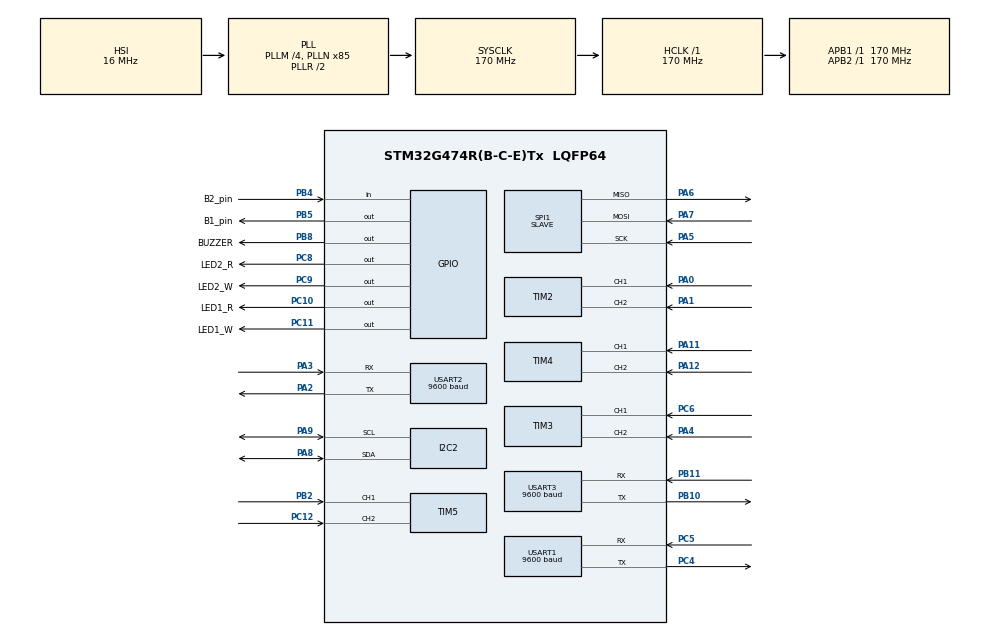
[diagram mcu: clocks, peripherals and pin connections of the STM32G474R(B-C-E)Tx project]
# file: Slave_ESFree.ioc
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ADC1.Channel-0\#ChannelRegularConversion=ADC_CHANNEL_TEMPSENSOR_ADC1
ADC1.NbrOfConversionFlag=1
ADC1.OffsetNumber-0\#ChannelRegularConversion=ADC_OFFSET_NONE
ADC1.Rank-0\#ChannelRegularConversion=1
ADC1.SamplingTime-0\#ChannelRegularConversion=ADC_SAMPLETIME_2CYCLES_5
ADC1.master=1
FREERTOS.Tasks01=ReadingTask,8,128,StartReadingTask,Default,NULL,Dynamic,NULL,NULL;CommunicationTa,8,128,StartCommunicationTask,Default,NULL,Dynamic,NULL,NULL;ActuationTask,8,128,StartActuationTask,Default,NULL,Dynamic,NULL,NULL;EmergencyTask,8,128,StartEmergencyTask,Default,NULL,Dynamic,NULL,NULL
FREERTOS.configUSE_NEWLIB_REENTRANT=1
FREERTOS.configUSE_PREEMPTION=0
I2C2.Timing=0x40B285C2
Mcu.Family=STM32G4
Mcu.Name=STM32G474R(B-C-E)Tx
Mcu.Package=LQFP64
NUCLEO-G474RE.BUTTON=1
NUCLEO-G474RE.LD2=true
NUCLEO-G474RE.VCP=true
NVIC.PriorityGroup=NVIC_PRIORITYGROUP_4
NVIC.TIM6_DAC_IRQn=true\:15\:0\:false\:false\:true\:false\:false\:true\:true
NVIC.TimeBase=TIM6_DAC_IRQn
NVIC.TimeBaseIP=TIM6
PA0.Signal=S_TIM2_CH1
PA1.Signal=S_TIM2_CH2
PA11.Signal=S_TIM4_CH1
PA12.Signal=S_TIM4_CH2
PA13.Mode=Serial_Wire
PA13.Signal=SYS_JTMS-SWDIO
PA14.Mode=Serial_Wire
PA14.Signal=SYS_JTCK-SWCLK
PA2.Mode=Asynchronous
PA2.Signal=USART2_TX
PA3.Mode=Asynchronous
PA3.Signal=USART2_RX
PA4.Signal=S_TIM3_CH2
PA5.Mode=Full_Duplex_Slave
PA5.Signal=SPI1_SCK
PA6.Mode=Full_Duplex_Slave
PA6.Signal=SPI1_MISO
PA7.Mode=Full_Duplex_Slave
PA7.Signal=SPI1_MOSI
PA8.Mode=I2C
PA8.Signal=I2C2_SDA
PA9.Mode=I2C
PA9.Signal=I2C2_SCL
PB10.Mode=Asynchronous
PB10.Signal=USART3_TX
PB11.Mode=Asynchronous
PB11.Signal=USART3_RX
PB2.Signal=S_TIM5_CH1
PB4.GPIO_Label=B2_pin
PB4.Signal=GPIO_Input
PB5.GPIO_Label=B1_pin
PB5.Signal=GPIO_Output
PB8-BOOT0.GPIO_Label=BUZZER
PB8-BOOT0.Signal=GPIO_Output
PC10.GPIO_Label=LED1_R
PC10.Signal=GPIO_Output
PC11.GPIO_Label=LED1_W
PC11.Signal=GPIO_Output
PC12.Signal=S_TIM5_CH2
PC14-OSC32_IN.Mode=LSE-External-Oscillator
PC14-OSC32_IN.Signal=RCC_OSC32_IN
PC15-OSC32_OUT.Mode=LSE-External-Oscillator
PC15-OSC32_OUT.Signal=RCC_OSC32_OUT
PC4.Mode=Asynchronous
PC4.Signal=USART1_TX
PC5.Mode=Asynchronous
PC5.Signal=USART1_RX
PC6.Signal=S_TIM3_CH1
PC8.GPIO_Label=LED2_R
PC8.Signal=GPIO_Output
PC9.GPIO_Label=LED2_W
PC9.Signal=GPIO_Output
PF0-OSC_IN.Mode=HSE-External-Clock-Source
PF0-OSC_IN.Signal=RCC_OSC_IN
ProjectManager.HeapSize=0x200
ProjectManager.StackSize=0x400
ProjectManager.TargetToolchain=STM32CubeIDE
RCC.ADC12Freq_Value=170000000
RCC.ADC345Freq_Value=170000000
RCC.AHBFreq_Value=170000000
RCC.APB1Freq_Value=170000000
RCC.APB1TimFreq_Value=170000000
RCC.APB2Freq_Value=170000000
RCC.APB2TimFreq_Value=170000000
RCC.CortexFreq_Value=170000000
RCC.EXTERNAL_CLOCK_VALUE=12288000
RCC.HCLKFreq_Value=170000000
RCC.HSE_VALUE=24000000
RCC.HSI48_VALUE=48000000
RCC.HSI_VALUE=16000000
RCC.PLLM=RCC_PLLM_DIV4
RCC.PLLN=85
RCC.RTCClockSelection=RCC_RTCCLKSOURCE_LSE
RCC.SYSCLKFreq_VALUE=170000000
RCC.SYSCLKSource=RCC_SYSCLKSOURCE_PLLCLK
RCC.USBFreq_Value=170000000
RCC.VCOOutputFreq_Value=340000000
SH.S_TIM2_CH1.0=TIM2_CH1,Encoder_Interface
SH.S_TIM2_CH2.0=TIM2_CH2,Encoder_Interface
SH.S_TIM3_CH1.0=TIM3_CH1,Encoder_Interface
SH.S_TIM3_CH2.0=TIM3_CH2,Encoder_Interface
SH.S_TIM4_CH1.0=TIM4_CH1,Encoder_Interface
SH.S_TIM4_CH2.0=TIM4_CH2,Encoder_Interface
SH.S_TIM5_CH1.0=TIM5_CH1,Encoder_Interface
SH.S_TIM5_CH2.0=TIM5_CH2,Encoder_Interface
SPI1.DataSize=SPI_DATASIZE_8BIT
SPI1.Direction=SPI_DIRECTION_2LINES
SPI1.Mode=SPI_MODE_SLAVE
SPI1.VirtualType=VM_SLAVE
TIM2.EncoderMode=TIM_ENCODERMODE_TI12
TIM4.EncoderMode=TIM_ENCODERMODE_TI12
TIM5.EncoderMode=TIM_ENCODERMODE_TI12
USART1.BaudRate=9600
USART1.VirtualMode-Asynchronous=VM_ASYNC
USART2.BaudRate=9600
USART2.VirtualMode-Asynchronous=VM_ASYNC
USART3.BaudRate=9600
USART3.VirtualMode-Asynchronous=VM_ASYNC
VP_ADC1_TempSens_Input.Mode=IN-TempSens
VP_ADC1_Vref_Input.Mode=IN-Vrefint
VP_FREERTOS_VS_CMSIS_V2.Mode=CMSIS_V2
VP_SYS_VS_DBSignals.Mode=DisableDeadBatterySignals
VP_SYS_VS_tim6.Mode=TIM6
board=NUCLEO-G474RE

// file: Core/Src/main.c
/* USER CODE BEGIN Header */
/**
  ******************************************************************************
  * @file           : main.c
  * @brief          : Main program body
  ******************************************************************************
  * @attention
  *
  * Copyright (c) 2025 STMicroelectronics.
  * All rights reserved.
  *
  * This software is licensed under terms that can be found in the LICENSE file
  * in the root directory of this software component.
  * If no LICENSE file comes with this software, it is provided AS-IS.
  *
  ******************************************************************************
  */
/*
    Copyright (C) 2025

    This program is free software: you can redistribute it and/or modify
    it under the terms of the GNU General Public License as published by
    the Free Software Foundation, either version 3 of the License, or
    (at your option) any later version.

    This program is distributed in the hope that it will be useful,
    but WITHOUT ANY WARRANTY; without even the implied warranty of
    MERCHANTABILITY or FITNESS FOR A PARTICULAR PURPOSE.  See the
    GNU General Public License for more details.

    You should have received a copy of the GNU General Public License
    along with this program.  If not, see <https://www.gnu.org/licenses/>.

TRACCIA:
Progettare e implementare un rover in grado di eseguire i comandi ricevuti tramite un controller
il rover può trovarsi in tre diversi stati operativi: OK quando il sistema funziona correttamente senza anomalie,
DEGRADATO in caso di malfunzionamento parziale che riduce alcune funzionalità ma mantiene il rover operativo,
EMERGENZA quando il rover entra in uno stato di sicurezza per prevenire danni limitando o sospendendo le operazioni.
*/
/* USER CODE END Header */
#include "main.h"
#include "cmsis_os.h"
#include "adc.h"
#include "i2c.h"
#include "spi.h"
#include "tim.h"
#include "usart.h"
#include "gpio.h"

/* USER CODE BEGIN Includes */
#include "controller.h"
#include "scheduler.h"
#include <string.h>
#include "com.h"
#include "pid.h"
/* USER CODE END Includes */

void SystemClock_Config(void);
void MX_FREERTOS_Init(void);

int main(void)
{

  /* MCU Configuration--------------------------------------------------------*/

  /* Reset of all peripherals, Initializes the Flash interface and the Systick. */
  HAL_Init();

  /* Configure the system clock */
  SystemClock_Config();

  /* Initialize all configured peripherals */
  MX_GPIO_Init();
  MX_ADC1_Init();
  MX_TIM2_Init();
  MX_TIM3_Init();
  MX_TIM4_Init();
  MX_TIM5_Init();
  MX_USART1_UART_Init();
  MX_USART3_UART_Init();
  MX_I2C2_Init();
  MX_SPI1_Init();
  MX_USART2_UART_Init();
  /* USER CODE BEGIN 2 */
  HAL_TIM_Encoder_Start(&htim2, TIM_CHANNEL_ALL); // Avvia il timer per encoder
  HAL_TIM_Encoder_Start(&htim3, TIM_CHANNEL_ALL); // Avvia il timer per encoder
  HAL_TIM_Encoder_Start(&htim4, TIM_CHANNEL_ALL); // Avvia il timer per encoder
  HAL_TIM_Encoder_Start(&htim5, TIM_CHANNEL_ALL); // Avvia il timer per encoder

  /* USER CODE END 2 */

  /* Init scheduler */
  osKernelInitialize();

  /* Call init function for freertos objects (in cmsis_os2.c) */
  MX_FREERTOS_Init();

  /* Start scheduler */
  osKernelStart();

  /* We should never get here as control is now taken by the scheduler */

  /* Infinite loop */
  while (1)
  {

  }
}

void SystemClock_Config(void)
{
  RCC_OscInitTypeDef RCC_OscInitStruct = {0};
  RCC_ClkInitTypeDef RCC_ClkInitStruct = {0};

  /** Configure the main internal regulator output voltage
  */
  HAL_PWREx_ControlVoltageScaling(PWR_REGULATOR_VOLTAGE_SCALE1_BOOST);

  /** Initializes the RCC Oscillators according to the specified parameters
  * in the RCC_OscInitTypeDef structure.
  */
  RCC_OscInitStruct.OscillatorType = RCC_OSCILLATORTYPE_HSI;
  RCC_OscInitStruct.HSIState = RCC_HSI_ON;
  RCC_OscInitStruct.HSICalibrationValue = RCC_HSICALIBRATION_DEFAULT;
  RCC_OscInitStruct.PLL.PLLState = RCC_PLL_ON;
  RCC_OscInitStruct.PLL.PLLSource = RCC_PLLSOURCE_HSI;
  RCC_OscInitStruct.PLL.PLLM = RCC_PLLM_DIV4;
  RCC_OscInitStruct.PLL.PLLN = 85;
  RCC_OscInitStruct.PLL.PLLP = RCC_PLLP_DIV2;
  RCC_OscInitStruct.PLL.PLLQ = RCC_PLLQ_DIV2;
  RCC_OscInitStruct.PLL.PLLR = RCC_PLLR_DIV2;
  if (HAL_RCC_OscConfig(&RCC_OscInitStruct) != HAL_OK)
  {
    Error_Handler();
  }

  /** Initializes the CPU, AHB and APB buses clocks
  */
  RCC_ClkInitStruct.ClockType = RCC_CLOCKTYPE_HCLK|RCC_CLOCKTYPE_SYSCLK
                              |RCC_CLOCKTYPE_PCLK1|RCC_CLOCKTYPE_PCLK2;
  RCC_ClkInitStruct.SYSCLKSource = RCC_SYSCLKSOURCE_PLLCLK;
  RCC_ClkInitStruct.AHBCLKDivider = RCC_SYSCLK_DIV1;
  RCC_ClkInitStruct.APB1CLKDivider = RCC_HCLK_DIV1;
  RCC_ClkInitStruct.APB2CLKDivider = RCC_HCLK_DIV1;

  if (HAL_RCC_ClockConfig(&RCC_ClkInitStruct, FLASH_LATENCY_4) != HAL_OK)
  {
    Error_Handler();
  }
}

void HAL_TIM_PeriodElapsedCallback(TIM_HandleTypeDef *htim)
{
  if (htim->Instance == TIM6) {
    HAL_IncTick();
  }
}

void Error_Handler(void)
{
  __disable_irq();
  while (1)
  {
  }
}

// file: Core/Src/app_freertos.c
/* USER CODE BEGIN Header */
/**
  ******************************************************************************
  * File Name          : app_freertos.c
  * Description        : Code for freertos applications
  ******************************************************************************
  * @attention
  *
  * Copyright (c) 2025 STMicroelectronics.
  * All rights reserved.
  *
  * This software is licensed under terms that can be found in the LICENSE file
  * in the root directory of this software component.
  * If no LICENSE file comes with this software, it is provided AS-IS.
  *
  ******************************************************************************
  */
/*
    Copyright (C) 2025

    This program is free software: you can redistribute it and/or modify
    it under the terms of the GNU General Public License as published by
    the Free Software Foundation, either version 3 of the License, or
    (at your option) any later version.

    This program is distributed in the hope that it will be useful,
    but WITHOUT ANY WARRANTY; without even the implied warranty of
    MERCHANTABILITY or FITNESS FOR A PARTICULAR PURPOSE.  See the
    GNU General Public License for more details.

    You should have received a copy of the GNU General Public License
    along with this program.  If not, see <https://www.gnu.org/licenses/>.

TRACCIA:
Progettare e implementare un rover in grado di eseguire i comandi ricevuti tramite un controller il rover può trovarsi in tre diversi stati operativi: OK quando il sistema funziona correttamente senza anomalie, DEGRADATO in caso di malfunzionamento parziale che riduce alcune funzionalità ma mantiene il rover operativo, EMERGENZA quando il rover entra in uno stato di sicurezza per prevenire danni limitando o sospendendo le operazioni.
*/

/* USER CODE END Header */

#include "FreeRTOS.h"
#include "task.h"
#include "main.h"
#include "cmsis_os.h"

/* USER CODE BEGIN Includes */
#include <string.h>
#include "controller.h"
#include "temperature.h"
#include "hc-sr04.h"
#include "MPU-6050.h"
#include "tim.h"
#include "com.h"
#include "adc.h"
#include "usart.h"
#include "gpio.h"
#include "spi.h"
#include "pid.h"
#include "scheduler.h"
#include "ssd1306_conf_template.h"
/* USER CODE END Includes */

/* USER CODE BEGIN PTD */
void dataCheck(uint16_t start_temp, partial_slave_t* data_salve);
void motori(global_t* global_data,PID_Controller *pid1,PID_Controller *pid2,PID_Controller *pid3,PID_Controller *pid4);
void led(global_t* global_data);
void emergency();
void ledEmergency();
void ledActuation();
/* USER CODE END PTD */

/* USER CODE BEGIN Variables */
PID_Controller pid1,pid2,pid3,pid4;
uint16_t start_temp;
uint32_t tick, timeout;
uint8_t buffer_receive[33];
uint8_t buffer_send[16];
partial_slave_t data_slave;
global_t global_data;
uint8_t final_decision;
uint8_t state_boards=3;
uint8_t ledOn = 0;
uint8_t lastBtn = 0;
char usart_buffer2[100];

/* USER CODE END Variables */
/* Definitions for ReadingTask */
osThreadId_t ReadingTaskHandle;
const osThreadAttr_t ReadingTask_attributes = {
  .name = "ReadingTask",
  .priority = (osPriority_t) osPriorityLow,
  .stack_size = 128 * 4
};
/* Definitions for CommunicationTa */
osThreadId_t CommunicationTaHandle;
const osThreadAttr_t CommunicationTa_attributes = {
  .name = "CommunicationTa",
  .priority = (osPriority_t) osPriorityLow,
  .stack_size = 128 * 4
};
/* Definitions for ActuationTask */
osThreadId_t ActuationTaskHandle;
const osThreadAttr_t ActuationTask_attributes = {
  .name = "ActuationTask",
  .priority = (osPriority_t) osPriorityLow,
  .stack_size = 128 * 4
};
/* Definitions for EmergencyTask */
osThreadId_t EmergencyTaskHandle;
const osThreadAttr_t EmergencyTask_attributes = {
  .name = "EmergencyTask",
  .priority = (osPriority_t) osPriorityLow,
  .stack_size = 128 * 4
};

void StartReadingTask(void *argument);
void StartCommunicationTask(void *argument);
void StartActuationTask(void *argument);
void StartEmergencyTask(void *argument);

void MX_FREERTOS_Init(void); /* (MISRA C 2004 rule 8.1) */

void MX_FREERTOS_Init(void) {
  /* USER CODE BEGIN Init */

	PID_Init(&pid1,0.001, 0.5,0);
	PID_Init(&pid2,0.001, 0.5,0);
	PID_Init(&pid3,0.001, 0.5,0);
	PID_Init(&pid4,0.001, 0.5,0);
	HAL_GPIO_WritePin(LED1_R_GPIO_Port, LED1_R_Pin, SET);
	HAL_GPIO_WritePin(LED2_R_GPIO_Port, LED2_R_Pin, SET);

  /* USER CODE END Init */

  /* Create the thread(s) */
  /* creation of ReadingTask */
  ReadingTaskHandle = osThreadNew(StartReadingTask, NULL, &ReadingTask_attributes);

  /* creation of CommunicationTa */
  CommunicationTaHandle = osThreadNew(StartCommunicationTask, NULL, &CommunicationTa_attributes);

  /* creation of ActuationTask */
  ActuationTaskHandle = osThreadNew(StartActuationTask, NULL, &ActuationTask_attributes);

  /* creation of EmergencyTask */
  EmergencyTaskHandle = osThreadNew(StartEmergencyTask, NULL, &EmergencyTask_attributes);

}

void StartReadingTask(void *argument)
{
  /* USER CODE BEGIN StartReadingTask */
  /* Infinite loop */
  for(;;)
  {

		data_slave.temperatura1=TemperatureSensor_Read();

	  	if(data_slave.temperatura1>90 || data_slave.temperatura1==-1){start_temp++;}
	  	else{start_temp=0;}

	  	data_slave.encoder1=TIM2->CNT;
	  	data_slave.encoder2=TIM3->CNT;
	  	data_slave.encoder3=TIM4->CNT;
	  	data_slave.encoder4=TIM5->CNT;

	  	//controllo validità dei dati rilevati dai sensori
	  	dataCheck(start_temp, &data_slave);
	  	osDelay(1);
  }
  /* USER CODE END StartReadingTask */
}

void StartCommunicationTask(void *argument)
{
  /* USER CODE BEGIN StartCommunicationTask */
  /* Infinite loop */
  for(;;)
  {
	  // Reset delle variabili di stato
	  state_boards=3;
	  final_decision = 3;
	  data_slave.B1_decision = 4;

	  //RICEZIONE PARTIAL STATE DAL MASTER

	  timeout=osKernelGetTickCount();
	  while (HAL_GPIO_ReadPin(B2_pin_GPIO_Port, B2_pin_Pin) == GPIO_PIN_RESET){
		  if(osKernelGetTickCount()-timeout > 80){
				state_boards = 0;
				goto fine;
		  }
	  }

	  HAL_GPIO_WritePin(GPIOB, B1_pin_Pin, GPIO_PIN_SET);

	  HAL_SPI_Receive(&hspi1, buffer_receive, sizeof(buffer_receive), HAL_MAX_DELAY);

	  HAL_GPIO_WritePin(GPIOB, B1_pin_Pin, GPIO_PIN_RESET);

	  deserialize_partial(&global_data,&data_slave,buffer_receive);

	  //DECISIONE DI B1 IN BASE AI DATI

		if(global_data.B2_state==0 && global_data.B1_state==1){ //Emergenza slave
			state_boards=0;
			data_slave.B1_decision = 0;
		}
		else if(global_data.B2_state==1 && global_data.B1_state==1){ //Attuazione slave
			state_boards=1;
			data_slave.B1_decision = 1;
		}
		else if(global_data.B2_state==1 && global_data.B1_state==0){ //Degradato master
			data_slave.B1_decision = 2;
		}
		else if(global_data.B2_state==0 && global_data.B1_state==0){ // Emergenza master
			data_slave.B1_decision = 3;
		}

		//INVIO PARTIAL STATE AL MASTER PIù DECISIONE SLAVE

		serialize_partial(&data_slave, buffer_send);

		HAL_GPIO_WritePin(GPIOB, B1_pin_Pin, GPIO_PIN_SET);
	    timeout = osKernelGetTickCount();
	    while (HAL_GPIO_ReadPin(GPIOB, B2_pin_Pin) == GPIO_PIN_RESET){
	  		if(osKernelGetTickCount()-timeout > 10){
	  			/*snprintf(buf, sizeof(buf),"timeout2: %d\r\n", osKernelGetTickCount()-timeout);
	  			HAL_UART_Transmit(&huart2, (uint8_t *)buf, strlen(buf), HAL_MAX_DELAY);*/
	  				state_boards = 0;
	  				goto fine;
	  		}
	     }

		  HAL_SPI_Transmit(&hspi1, (uint8_t*)buffer_send, sizeof(buffer_send), HAL_MAX_DELAY);

		  HAL_GPIO_WritePin(GPIOB, B1_pin_Pin, GPIO_PIN_RESET);

	  //RICEZIONE DECISIONE FINALE MASTER PIù CONTROLLO FINALE
			timeout=osKernelGetTickCount();
			while (HAL_GPIO_ReadPin(B2_pin_GPIO_Port, B2_pin_Pin) == GPIO_PIN_RESET){
				if(osKernelGetTickCount()-timeout > 10){
					state_boards = 0;
					goto fine;
	  	  		}
	  	  	}

	  	  HAL_GPIO_WritePin(GPIOB, B1_pin_Pin, GPIO_PIN_SET);

	  	  HAL_SPI_Receive(&hspi1, &final_decision, sizeof(final_decision), HAL_MAX_DELAY);

	  	  HAL_GPIO_WritePin(GPIOB, B1_pin_Pin, GPIO_PIN_RESET);

	  	  //Se la decisione finale è uguale a 0 significa che le due schede
	  	  //hanno preso decisioni differenti e quindi il master prende il comando
	  	  if(final_decision == 0){
	  		  state_boards = 3;
	  	  }

	fine:
	osDelay(1);
  }
  /* USER CODE END StartCommunicationTask */
}

void StartActuationTask(void *argument)
{
  /* USER CODE BEGIN StartActuationTask */
  /* Infinite loop */
  for(;;)
  {
	if(state_boards==1){
		//funzione per il comando dei motori
		motori(&global_data,&pid1,&pid2,&pid3,&pid4);

		//Suono clacson
		if(global_data.controller.b_btn==1){
			HAL_GPIO_WritePin(BUZZER_GPIO_Port, BUZZER_Pin, GPIO_PIN_SET);
		}
		else{
			HAL_GPIO_WritePin(BUZZER_GPIO_Port, BUZZER_Pin, GPIO_PIN_RESET);
		}
		// la variabile globale ledOn viene utilizzata per capire se i led devono essere accesi o spenti
		if(ledOn == 0 && global_data.controller.btn2 == 1 && lastBtn != 1){
			ledOn = 1;
			lastBtn = 1;
		}else if(global_data.controller.btn2 == 1 && lastBtn != 1){
			ledOn = 0;
			lastBtn = 1;
		}else if(global_data.controller.btn2 == 0){
			lastBtn = 0;
		}
		ledActuation();

	}
    osDelay(1);
  }
  /* USER CODE END StartActuationTask */
}

void StartEmergencyTask(void *argument)
{
  /* USER CODE BEGIN StartEmergencyTask */
  /* Infinite loop */
  for(;;)
  {
	if(state_boards==0){
		emergency();
	}
    osDelay(1);
  }
  /* USER CODE END StartEmergencyTask */
}

/* USER CODE BEGIN Application */
void dataCheck(uint16_t start_temp, partial_slave_t* data_slave){

	if(data_slave->encoder1 < 0 || data_slave->encoder2< 0 || data_slave->encoder3< 0 || data_slave->encoder4< 0 || start_temp>200){
		data_slave->B1_state=0;
	}
	else{
		data_slave->B1_state=1;
	}

}

void ledActuation(){
	if(ledOn == 1){

	HAL_GPIO_WritePin(LED1_W_GPIO_Port, LED1_W_Pin, GPIO_PIN_RESET);
	HAL_GPIO_WritePin(LED2_W_GPIO_Port, LED2_W_Pin, GPIO_PIN_RESET);
	}else{
	HAL_GPIO_WritePin(LED1_W_GPIO_Port, LED1_W_Pin, GPIO_PIN_SET);
	HAL_GPIO_WritePin(LED2_W_GPIO_Port, LED2_W_Pin, GPIO_PIN_SET);
	}
	return;
}

void motori(global_t* global_data,PID_Controller *pid1,PID_Controller *pid2,PID_Controller *pid3,PID_Controller *pid4){

	wheel_speeds_t speed;
	uint32_t tick1,tick2,tick3,tick4;
	int counterValue1,counterValue2,counterValue3,counterValue4;
	uint8_t power1,power2,power3,power4,INpower2,INpower4;

	speed=compute(&global_data->controller, global_data->sonar1,global_data->sonar2,global_data->sonar3);

	tick1 = HAL_GetTick();
	counterValue1 = TIM2->CNT;
	power1=PID_Compute(pid1, counterValue1, tick1, speed.right_speed, 2448.0,1);

	tick2 = HAL_GetTick();
	counterValue2 = TIM3->CNT;
	power2=PID_Compute(pid2, counterValue2, tick2, speed.left_speed, 2448.0,2);
	INpower2=power2+127;

	tick3 = HAL_GetTick();
	counterValue3 = TIM4->CNT;
	power3=PID_Compute(pid3, counterValue3, tick3, speed.right_speed, 2448.0,3);

	tick4 = HAL_GetTick();
	counterValue4 = TIM5->CNT;
	power4=PID_Compute(pid4, counterValue4, tick4, speed.left_speed, 2448.0,4);
	INpower4=power4+127;

	HAL_UART_Transmit(&huart1, &power1,1,0);
	HAL_UART_Transmit(&huart1, &INpower2, 1,0);
	HAL_UART_Transmit(&huart3, &power3, 1,0);
	HAL_UART_Transmit(&huart3, &INpower4, 1,0);

}

void emergency(){
    uint8_t power=64;
    uint8_t power2=64+127;

    HAL_UART_Transmit(&huart1, &power, 1,0);
    HAL_UART_Transmit(&huart1, &power2, 1,0);
    HAL_UART_Transmit(&huart3, &power, 1,0);
    HAL_UART_Transmit(&huart3, &power2, 1,0);

}
/* USER CODE END Application */
